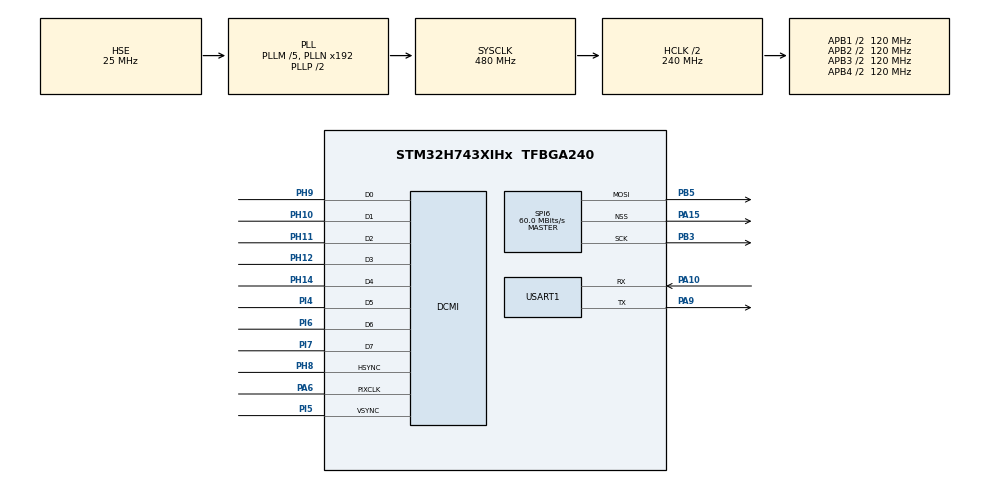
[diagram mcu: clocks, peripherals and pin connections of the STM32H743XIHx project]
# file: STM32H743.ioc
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CORTEX_M7.AccessPermission-Cortex_Memory_Protection_Unit_Region0_Settings=MPU_REGION_FULL_ACCESS
CORTEX_M7.AccessPermission_Spec=MPU_REGION_FULL_ACCESS
CORTEX_M7.BaseAddress-Cortex_Memory_Protection_Unit_Region0_Settings=0xC0000000
CORTEX_M7.BaseAddress_Spec=0xC0000000
CORTEX_M7.CPU_DCache=Enabled
CORTEX_M7.CPU_ICache=Enabled
CORTEX_M7.DisableExec_Spec=MPU_INSTRUCTION_ACCESS_ENABLE
CORTEX_M7.Enable-Cortex_Memory_Protection_Unit_Region0_Settings=MPU_REGION_ENABLE
CORTEX_M7.IsCacheable-Cortex_Memory_Protection_Unit_Region0_Settings=MPU_ACCESS_CACHEABLE
CORTEX_M7.IsCacheable_Spec=MPU_ACCESS_CACHEABLE
CORTEX_M7.IsShareable_Spec=MPU_ACCESS_NOT_SHAREABLE
CORTEX_M7.MPU_Control=MPU_HFNMI_PRIVDEF
CORTEX_M7.Size-Cortex_Memory_Protection_Unit_Region0_Settings=MPU_REGION_SIZE_32MB
CORTEX_M7.Size_Spec=MPU_REGION_SIZE_32MB
CORTEX_M7.SubRegionDisable_Spec=0x0
DMA2D.ColorMode=DMA2D_OUTPUT_RGB565
Mcu.Family=STM32H7
Mcu.Name=STM32H743XIHx
Mcu.Package=TFBGA240
NVIC.PriorityGroup=NVIC_PRIORITYGROUP_4
PA10.Mode=Asynchronous
PA10.Signal=USART1_RX
PA13\ (JTMS/SWDIO).Mode=Serial_Wire
PA13\ (JTMS/SWDIO).Signal=DEBUG_JTMS-SWDIO
PA14\ (JTCK/SWCLK).Mode=Serial_Wire
PA14\ (JTCK/SWCLK).Signal=DEBUG_JTCK-SWCLK
PA15\ (JTDI).Mode=NSS_Signal_Hard_Output
PA15\ (JTDI).Signal=SPI6_NSS
PA6.GPIO_Mode=GPIO_MODE_AF_PP
PA6.GPIO_PuPd=GPIO_NOPULL
PA6.GPIO_Speed=GPIO_SPEED_FREQ_VERY_HIGH
PA6.Mode=Slave_8_bits_External_Synchro
PA6.Signal=DCMI_PIXCLK
PA9.Mode=Asynchronous
PA9.Signal=USART1_TX
PB3\ (JTDO/TRACESWO).Mode=TX_Only_Simplex_Unidirect_Master
PB3\ (JTDO/TRACESWO).Signal=SPI6_SCK
PB5.Mode=TX_Only_Simplex_Unidirect_Master
PB5.Signal=SPI6_MOSI
PC14-OSC32_IN\ (OSC32_IN).Mode=LSE-External-Oscillator
PC14-OSC32_IN\ (OSC32_IN).Signal=RCC_OSC32_IN
PC15-OSC32_OUT\ (OSC32_OUT).Mode=LSE-External-Oscillator
PC15-OSC32_OUT\ (OSC32_OUT).Signal=RCC_OSC32_OUT
PF7.GPIO_Speed=GPIO_SPEED_FREQ_VERY_HIGH
PF7.Signal=QUADSPI_BK1_IO2
PF8.GPIO_Speed=GPIO_SPEED_FREQ_VERY_HIGH
PF8.Signal=QUADSPI_BK1_IO0
PF9.GPIO_Speed=GPIO_SPEED_FREQ_VERY_HIGH
PF9.Signal=QUADSPI_BK1_IO1
PG6.GPIO_Speed=GPIO_SPEED_FREQ_VERY_HIGH
PG6.Signal=QUADSPI_BK1_NCS
PH0-OSC_IN\ (PH0).Mode=HSE-External-Clock-Source
PH0-OSC_IN\ (PH0).Signal=RCC_OSC_IN
PH10.GPIO_Mode=GPIO_MODE_AF_PP
PH10.GPIO_PuPd=GPIO_NOPULL
PH10.GPIO_Speed=GPIO_SPEED_FREQ_VERY_HIGH
PH10.Mode=Slave_8_bits_External_Synchro
PH10.Signal=DCMI_D1
PH11.GPIO_Mode=GPIO_MODE_AF_PP
PH11.GPIO_PuPd=GPIO_NOPULL
PH11.GPIO_Speed=GPIO_SPEED_FREQ_VERY_HIGH
PH11.Mode=Slave_8_bits_External_Synchro
PH11.Signal=DCMI_D2
PH12.GPIO_Mode=GPIO_MODE_AF_PP
PH12.GPIO_PuPd=GPIO_NOPULL
PH12.GPIO_Speed=GPIO_SPEED_FREQ_VERY_HIGH
PH12.Mode=Slave_8_bits_External_Synchro
PH12.Signal=DCMI_D3
PH14.GPIO_Mode=GPIO_MODE_AF_PP
PH14.GPIO_PuPd=GPIO_NOPULL
PH14.GPIO_Speed=GPIO_SPEED_FREQ_VERY_HIGH
PH14.Mode=Slave_8_bits_External_Synchro
PH14.Signal=DCMI_D4
PH15.Signal=LTDC_G4
PH2.Signal=FMC_SDCKE0
PH3.Signal=FMC_SDNE0
PH4.Signal=LTDC_G5
PH5.GPIO_Speed=GPIO_SPEED_FREQ_VERY_HIGH
PH5.Signal=SPI5_NSS
PH8.GPIO_Mode=GPIO_MODE_AF_PP
PH8.GPIO_PuPd=GPIO_NOPULL
PH8.GPIO_Speed=GPIO_SPEED_FREQ_VERY_HIGH
PH8.Mode=Slave_8_bits_External_Synchro
PH8.Signal=DCMI_HSYNC
PH9.GPIO_Mode=GPIO_MODE_AF_PP
PH9.GPIO_PuPd=GPIO_NOPULL
PH9.GPIO_Speed=GPIO_SPEED_FREQ_VERY_HIGH
PH9.Mode=Slave_8_bits_External_Synchro
PH9.Signal=DCMI_D0
PI12.Signal=LTDC_HSYNC
PI14.Signal=LTDC_CLK
PI15.Signal=LTDC_R0
PI4.GPIO_Mode=GPIO_MODE_AF_PP
PI4.GPIO_PuPd=GPIO_NOPULL
PI4.GPIO_Speed=GPIO_SPEED_FREQ_VERY_HIGH
PI4.Mode=Slave_8_bits_External_Synchro
PI4.Signal=DCMI_D5
PI5.GPIO_Mode=GPIO_MODE_AF_PP
PI5.GPIO_PuPd=GPIO_NOPULL
PI5.GPIO_Speed=GPIO_SPEED_FREQ_VERY_HIGH
PI5.Mode=Slave_8_bits_External_Synchro
PI5.Signal=DCMI_VSYNC
PI6.GPIO_Mode=GPIO_MODE_AF_PP
PI6.GPIO_PuPd=GPIO_NOPULL
PI6.GPIO_Speed=GPIO_SPEED_FREQ_VERY_HIGH
PI6.Mode=Slave_8_bits_External_Synchro
PI6.Signal=DCMI_D6
PI7.GPIO_Mode=GPIO_MODE_AF_PP
PI7.GPIO_PuPd=GPIO_NOPULL
PI7.GPIO_Speed=GPIO_SPEED_FREQ_VERY_HIGH
PI7.Mode=Slave_8_bits_External_Synchro
PI7.Signal=DCMI_D7
PJ0.Signal=LTDC_R1
PJ12.Signal=LTDC_B0
PJ13.Signal=LTDC_B1
PJ14.Signal=LTDC_B2
PJ15.Signal=LTDC_B3
PJ6.Signal=LTDC_R7
PJ7.Signal=LTDC_G0
PJ8.Signal=LTDC_G1
PJ9.Signal=LTDC_G2
PK1.Signal=LTDC_G6
PK2.Signal=LTDC_G7
ProjectManager.HeapSize=0x800
ProjectManager.StackSize=0x800
ProjectManager.TargetToolchain=CMake
RCC.ADCFreq_Value=50390625
RCC.APB1Freq_Value=120000000
RCC.APB2Freq_Value=120000000
RCC.APB3Freq_Value=120000000
RCC.APB4Freq_Value=120000000
RCC.CortexFreq_Value=480000000
RCC.D1PPRE=RCC_APB3_DIV2
RCC.D2PPRE1=RCC_APB1_DIV2
RCC.D2PPRE2=RCC_APB2_DIV2
RCC.D3PPRE=RCC_APB4_DIV2
RCC.DIVM1=5
RCC.DIVM3=25
RCC.DIVN1=192
RCC.DIVN3=330
RCC.DIVQ1=4
RCC.DIVR3=10
RCC.HCLKFreq_Value=240000000
RCC.HPRE=RCC_HCLK_DIV2
RCC.HSE_VALUE=25000000
RCC.PLLSourceVirtual=RCC_PLLSOURCE_HSE
RCC.PWR_Regulator_Voltage_Scale=PWR_REGULATOR_VOLTAGE_SCALE0
RCC.ProductRev=revV
RCC.RTCClockSelection=RCC_RTCCLKSOURCE_LSE
RCC.SYSCLKFreq_VALUE=480000000
RCC.SYSCLKSource=RCC_SYSCLKSOURCE_PLLCLK
RCC.USBFreq_Value=240000000
SPI6.CalculateBaudRate=60.0 MBits/s
SPI6.DataSize=SPI_DATASIZE_8BIT
SPI6.Direction=SPI_DIRECTION_2LINES_TXONLY
SPI6.Mode=SPI_MODE_MASTER
SPI6.VirtualNSS=VM_NSSHARD
SPI6.VirtualType=VM_MASTER
USART1.VirtualMode-Asynchronous=VM_ASYNC
VP_CRC_VS_CRC.Mode=CRC_Activate
VP_DMA2D_VS_DMA2D.Mode=DMA2D_Activate
VP_MEMORYMAP_VS_MEMORYMAP.Mode=CurAppReg
board=custom

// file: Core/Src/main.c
/* USER CODE BEGIN Header */
/**
  ******************************************************************************
  * @file           : main.c
  * @brief          : Main program body
  ******************************************************************************
  * @attention
  *
  * Copyright (c) 2025 STMicroelectronics.
  * All rights reserved.
  *
  * This software is licensed under terms that can be found in the LICENSE file
  * in the root directory of this software component.
  * If no LICENSE file comes with this software, it is provided AS-IS.
  *
  ******************************************************************************
  */
/* USER CODE END Header */
#include "main.h"

/* USER CODE BEGIN Includes */
#include "app_x-cube-ai.h"
/* USER CODE END Includes */

CRC_HandleTypeDef hcrc;

DCMI_HandleTypeDef hdcmi;

DMA2D_HandleTypeDef hdma2d;

SPI_HandleTypeDef hspi6;

UART_HandleTypeDef huart1;

SDRAM_HandleTypeDef hsdram1;

/* USER CODE BEGIN PV */
// #define Camera_Buffer SDRAM_BANK_ADDR
AI_ALIGNED(4)
__IO uint32_t Camera_Buffer[Display_BufferSize];

char display_str[20];

/* USER CODE END PV */

void SystemClock_Config(void);
static void MPU_Config(void);
static void MX_GPIO_Init(void);
static void MX_DCMI_Init(void);
static void MX_DMA2D_Init(void);
static void MX_USART1_UART_Init(void);
static void MX_CRC_Init(void);
static void MX_SPI6_Init(void);
static void MX_FMC_Init(void);

int main(void)
{

    /* MPU Configuration--------------------------------------------------------*/
    MPU_Config();

    /* Enable the CPU Cache */

    /* Enable I-Cache---------------------------------------------------------*/
    SCB_EnableICache();

    /* Enable D-Cache---------------------------------------------------------*/
    SCB_EnableDCache();

    /* MCU Configuration--------------------------------------------------------*/

    /* Reset of all peripherals, Initializes the Flash interface and the Systick. */
    HAL_Init();

    /* Configure the system clock */
    SystemClock_Config();

    /* Initialize all configured peripherals */
    MX_GPIO_Init();
    MX_DCMI_Init();
    MX_DMA2D_Init();
    MX_USART1_UART_Init();
    MX_CRC_Init();
    MX_SPI6_Init();
    MX_FMC_Init();
    /* USER CODE BEGIN 2 */
    USART1_Init();
    LED_Init();
    SPI_LCD_Init();

    DCMI_OV5640_Init();                                                          // DCMI以及OV5640初始�?
    OV5640_DMA_Transmit_Continuous((uint32_t)Camera_Buffer, Display_BufferSize); // 启动DMA连续传输

    MX_CRC_Init();
    MX_X_CUBE_AI_Init();

    printf("[INFO]: ----------- Card Detection Running ----------- \r\n");

    uint32_t start = 0;
    uint32_t end = 0;
    uint32_t cost = 0;

    /* USER CODE END 2 */

    /* Infinite loop */
    /* USER CODE BEGIN WHILE */
    while (1)
    {
        if (OV5640_FrameState == 1) // 采集到了一帧图像
        {
            OV5640_DCMI_Suspend();

            start = HAL_GetTick();
            MX_X_CUBE_AI_Process();
            end = HAL_GetTick();

            cost = end - start;

            LCD_CopyBuffer(0, 0, 192, 192, (uint16_t *)Camera_Buffer);
            OV5640_DCMI_Resume();

            sprintf(display_str, "%d ms ", cost);
            LCD_DisplayString(84, 240, display_str);
            LED1_Toggle;

            OV5640_FrameState = 0; // 清零标志位
        }
        /* USER CODE END WHILE */

    }
}

void SystemClock_Config(void)
{
    RCC_OscInitTypeDef RCC_OscInitStruct = {0};
    RCC_ClkInitTypeDef RCC_ClkInitStruct = {0};

    /** Supply configuration update enable
  */
    HAL_PWREx_ConfigSupply(PWR_LDO_SUPPLY);

    /** Configure the main internal regulator output voltage
  */
    __HAL_PWR_VOLTAGESCALING_CONFIG(PWR_REGULATOR_VOLTAGE_SCALE1);

    while (!__HAL_PWR_GET_FLAG(PWR_FLAG_VOSRDY))
    {
    }

    __HAL_RCC_SYSCFG_CLK_ENABLE();
    __HAL_PWR_VOLTAGESCALING_CONFIG(PWR_REGULATOR_VOLTAGE_SCALE0);

    while (!__HAL_PWR_GET_FLAG(PWR_FLAG_VOSRDY))
    {
    }

    /** Initializes the RCC Oscillators according to the specified parameters
  * in the RCC_OscInitTypeDef structure.
  */
    RCC_OscInitStruct.OscillatorType = RCC_OSCILLATORTYPE_HSE;
    RCC_OscInitStruct.HSEState = RCC_HSE_BYPASS;
    RCC_OscInitStruct.PLL.PLLState = RCC_PLL_ON;
    RCC_OscInitStruct.PLL.PLLSource = RCC_PLLSOURCE_HSE;
    RCC_OscInitStruct.PLL.PLLM = 5;
    RCC_OscInitStruct.PLL.PLLN = 192;
    RCC_OscInitStruct.PLL.PLLP = 2;
    RCC_OscInitStruct.PLL.PLLQ = 4;
    RCC_OscInitStruct.PLL.PLLR = 2;
    RCC_OscInitStruct.PLL.PLLRGE = RCC_PLL1VCIRANGE_2;
    RCC_OscInitStruct.PLL.PLLVCOSEL = RCC_PLL1VCOWIDE;
    RCC_OscInitStruct.PLL.PLLFRACN = 0;
    if (HAL_RCC_OscConfig(&RCC_OscInitStruct) != HAL_OK)
    {
        Error_Handler();
    }

    /** Initializes the CPU, AHB and APB buses clocks
  */
    RCC_ClkInitStruct.ClockType = RCC_CLOCKTYPE_HCLK | RCC_CLOCKTYPE_SYSCLK | RCC_CLOCKTYPE_PCLK1 | RCC_CLOCKTYPE_PCLK2 | RCC_CLOCKTYPE_D3PCLK1 | RCC_CLOCKTYPE_D1PCLK1;
    RCC_ClkInitStruct.SYSCLKSource = RCC_SYSCLKSOURCE_PLLCLK;
    RCC_ClkInitStruct.SYSCLKDivider = RCC_SYSCLK_DIV1;
    RCC_ClkInitStruct.AHBCLKDivider = RCC_HCLK_DIV2;
    RCC_ClkInitStruct.APB3CLKDivider = RCC_APB3_DIV2;
    RCC_ClkInitStruct.APB1CLKDivider = RCC_APB1_DIV2;
    RCC_ClkInitStruct.APB2CLKDivider = RCC_APB2_DIV2;
    RCC_ClkInitStruct.APB4CLKDivider = RCC_APB4_DIV2;

    if (HAL_RCC_ClockConfig(&RCC_ClkInitStruct, FLASH_LATENCY_4) != HAL_OK)
    {
        Error_Handler();
    }
}

static void MX_CRC_Init(void)
{

    hcrc.Instance = CRC;
    hcrc.Init.DefaultPolynomialUse = DEFAULT_POLYNOMIAL_ENABLE;
    hcrc.Init.DefaultInitValueUse = DEFAULT_INIT_VALUE_ENABLE;
    hcrc.Init.InputDataInversionMode = CRC_INPUTDATA_INVERSION_NONE;
    hcrc.Init.OutputDataInversionMode = CRC_OUTPUTDATA_INVERSION_DISABLE;
    hcrc.InputDataFormat = CRC_INPUTDATA_FORMAT_BYTES;
    if (HAL_CRC_Init(&hcrc) != HAL_OK)
    {
        Error_Handler();
    }
}

static void MX_DCMI_Init(void)
{

    hdcmi.Instance = DCMI;
    hdcmi.Init.SynchroMode = DCMI_SYNCHRO_HARDWARE;
    hdcmi.Init.PCKPolarity = DCMI_PCKPOLARITY_FALLING;
    hdcmi.Init.VSPolarity = DCMI_VSPOLARITY_LOW;
    hdcmi.Init.HSPolarity = DCMI_HSPOLARITY_LOW;
    hdcmi.Init.CaptureRate = DCMI_CR_ALL_FRAME;
    hdcmi.Init.ExtendedDataMode = DCMI_EXTEND_DATA_8B;
    hdcmi.Init.JPEGMode = DCMI_JPEG_DISABLE;
    hdcmi.Init.ByteSelectMode = DCMI_BSM_ALL;
    hdcmi.Init.ByteSelectStart = DCMI_OEBS_ODD;
    hdcmi.Init.LineSelectMode = DCMI_LSM_ALL;
    hdcmi.Init.LineSelectStart = DCMI_OELS_ODD;
    if (HAL_DCMI_Init(&hdcmi) != HAL_OK)
    {
        Error_Handler();
    }
}

static void MX_DMA2D_Init(void)
{

    hdma2d.Instance = DMA2D;
    hdma2d.Init.Mode = DMA2D_M2M;
    hdma2d.Init.ColorMode = DMA2D_OUTPUT_RGB565;
    hdma2d.Init.OutputOffset = 0;
    hdma2d.LayerCfg[1].InputOffset = 0;
    hdma2d.LayerCfg[1].InputColorMode = DMA2D_INPUT_RGB565;
    hdma2d.LayerCfg[1].AlphaMode = DMA2D_NO_MODIF_ALPHA;
    hdma2d.LayerCfg[1].InputAlpha = 0;
    hdma2d.LayerCfg[1].AlphaInverted = DMA2D_REGULAR_ALPHA;
    hdma2d.LayerCfg[1].RedBlueSwap = DMA2D_RB_REGULAR;
    hdma2d.LayerCfg[1].ChromaSubSampling = DMA2D_NO_CSS;
    if (HAL_DMA2D_Init(&hdma2d) != HAL_OK)
    {
        Error_Handler();
    }
    if (HAL_DMA2D_ConfigLayer(&hdma2d, 1) != HAL_OK)
    {
        Error_Handler();
    }
}

static void MX_SPI6_Init(void)
{

    /* SPI6 parameter configuration*/
    hspi6.Instance = SPI6;
    hspi6.Init.Mode = SPI_MODE_MASTER;
    hspi6.Init.Direction = SPI_DIRECTION_2LINES_TXONLY;
    hspi6.Init.DataSize = SPI_DATASIZE_8BIT;
    hspi6.Init.CLKPolarity = SPI_POLARITY_LOW;
    hspi6.Init.CLKPhase = SPI_PHASE_1EDGE;
    hspi6.Init.NSS = SPI_NSS_HARD_OUTPUT;
    hspi6.Init.BaudRatePrescaler = SPI_BAUDRATEPRESCALER_2;
    hspi6.Init.FirstBit = SPI_FIRSTBIT_MSB;
    hspi6.Init.TIMode = SPI_TIMODE_DISABLE;
    hspi6.Init.CRCCalculation = SPI_CRCCALCULATION_DISABLE;
    hspi6.Init.CRCPolynomial = 0x0;
    hspi6.Init.NSSPMode = SPI_NSS_PULSE_ENABLE;
    hspi6.Init.NSSPolarity = SPI_NSS_POLARITY_LOW;
    hspi6.Init.FifoThreshold = SPI_FIFO_THRESHOLD_01DATA;
    hspi6.Init.TxCRCInitializationPattern = SPI_CRC_INITIALIZATION_ALL_ZERO_PATTERN;
    hspi6.Init.RxCRCInitializationPattern = SPI_CRC_INITIALIZATION_ALL_ZERO_PATTERN;
    hspi6.Init.MasterSSIdleness = SPI_MASTER_SS_IDLENESS_00CYCLE;
    hspi6.Init.MasterInterDataIdleness = SPI_MASTER_INTERDATA_IDLENESS_00CYCLE;
    hspi6.Init.MasterReceiverAutoSusp = SPI_MASTER_RX_AUTOSUSP_DISABLE;
    hspi6.Init.MasterKeepIOState = SPI_MASTER_KEEP_IO_STATE_DISABLE;
    hspi6.Init.IOSwap = SPI_IO_SWAP_DISABLE;
    if (HAL_SPI_Init(&hspi6) != HAL_OK)
    {
        Error_Handler();
    }
}

static void MX_USART1_UART_Init(void)
{

    huart1.Instance = USART1;
    huart1.Init.BaudRate = 115200;
    huart1.Init.WordLength = UART_WORDLENGTH_8B;
    huart1.Init.StopBits = UART_STOPBITS_1;
    huart1.Init.Parity = UART_PARITY_NONE;
    huart1.Init.Mode = UART_MODE_TX_RX;
    huart1.Init.HwFlowCtl = UART_HWCONTROL_NONE;
    huart1.Init.OverSampling = UART_OVERSAMPLING_16;
    huart1.Init.OneBitSampling = UART_ONE_BIT_SAMPLE_DISABLE;
    huart1.Init.ClockPrescaler = UART_PRESCALER_DIV1;
    huart1.AdvancedInit.AdvFeatureInit = UART_ADVFEATURE_NO_INIT;
    if (HAL_UART_Init(&huart1) != HAL_OK)
    {
        Error_Handler();
    }
    if (HAL_UARTEx_SetTxFifoThreshold(&huart1, UART_TXFIFO_THRESHOLD_1_8) != HAL_OK)
    {
        Error_Handler();
    }
    if (HAL_UARTEx_SetRxFifoThreshold(&huart1, UART_RXFIFO_THRESHOLD_1_8) != HAL_OK)
    {
        Error_Handler();
    }
    if (HAL_UARTEx_DisableFifoMode(&huart1) != HAL_OK)
    {
        Error_Handler();
    }
}

/* FMC initialization function */
static void MX_FMC_Init(void)
{

    FMC_SDRAM_TimingTypeDef SdramTiming = {0};

    /** Perform the SDRAM1 memory initialization sequence
  */
    hsdram1.Instance = FMC_SDRAM_DEVICE;
    /* hsdram1.Init */
    hsdram1.Init.SDBank = FMC_SDRAM_BANK1;
    hsdram1.Init.ColumnBitsNumber = FMC_SDRAM_COLUMN_BITS_NUM_8;
    hsdram1.Init.RowBitsNumber = FMC_SDRAM_ROW_BITS_NUM_12;
    hsdram1.Init.MemoryDataWidth = FMC_SDRAM_MEM_BUS_WIDTH_16;
    hsdram1.Init.InternalBankNumber = FMC_SDRAM_INTERN_BANKS_NUM_4;
    hsdram1.Init.CASLatency = FMC_SDRAM_CAS_LATENCY_3;
    hsdram1.Init.WriteProtection = FMC_SDRAM_WRITE_PROTECTION_DISABLE;
    hsdram1.Init.SDClockPeriod = FMC_SDRAM_CLOCK_PERIOD_2;
    hsdram1.Init.ReadBurst = FMC_SDRAM_RBURST_ENABLE;
    hsdram1.Init.ReadPipeDelay = FMC_SDRAM_RPIPE_DELAY_0;
    /* SdramTiming */
    SdramTiming.LoadToActiveDelay = 2;
    SdramTiming.ExitSelfRefreshDelay = 7;
    SdramTiming.SelfRefreshTime = 4;
    SdramTiming.RowCycleDelay = 7;
    SdramTiming.WriteRecoveryTime = 3;
    SdramTiming.RPDelay = 2;
    SdramTiming.RCDDelay = 2;

    if (HAL_SDRAM_Init(&hsdram1, &SdramTiming) != HAL_OK)
    {
        Error_Handler();
    }

}

static void MX_GPIO_Init(void)
{
    GPIO_InitTypeDef GPIO_InitStruct = {0};

    /* GPIO Ports Clock Enable */
    __HAL_RCC_GPIOI_CLK_ENABLE();
    __HAL_RCC_GPIOB_CLK_ENABLE();
    __HAL_RCC_GPIOA_CLK_ENABLE();
    __HAL_RCC_GPIOE_CLK_ENABLE();
    __HAL_RCC_GPIOJ_CLK_ENABLE();
    __HAL_RCC_GPIOH_CLK_ENABLE();
    __HAL_RCC_GPIOC_CLK_ENABLE();
    __HAL_RCC_GPIOG_CLK_ENABLE();
    __HAL_RCC_GPIOD_CLK_ENABLE();
    __HAL_RCC_GPIOF_CLK_ENABLE();
    __HAL_RCC_GPIOK_CLK_ENABLE();

    /*Configure GPIO pins : PJ15 PJ14 PJ12 PJ13
                           PJ9 PJ0 PJ8 PJ7
                           PJ6 */
    GPIO_InitStruct.Pin = GPIO_PIN_15 | GPIO_PIN_14 | GPIO_PIN_12 | GPIO_PIN_13 | GPIO_PIN_9 | GPIO_PIN_0 | GPIO_PIN_8 | GPIO_PIN_7 | GPIO_PIN_6;
    GPIO_InitStruct.Mode = GPIO_MODE_AF_PP;
    GPIO_InitStruct.Pull = GPIO_NOPULL;
    GPIO_InitStruct.Speed = GPIO_SPEED_FREQ_LOW;
    GPIO_InitStruct.Alternate = GPIO_AF14_LTDC;
    HAL_GPIO_Init(GPIOJ, &GPIO_InitStruct);

    /*Configure GPIO pin : PH15 */
    GPIO_InitStruct.Pin = GPIO_PIN_15;
    GPIO_InitStruct.Mode = GPIO_MODE_AF_PP;
    GPIO_InitStruct.Pull = GPIO_NOPULL;
    GPIO_InitStruct.Speed = GPIO_SPEED_FREQ_LOW;
    GPIO_InitStruct.Alternate = GPIO_AF14_LTDC;
    HAL_GPIO_Init(GPIOH, &GPIO_InitStruct);

    /*Configure GPIO pin : PG6 */
    GPIO_InitStruct.Pin = GPIO_PIN_6;
    GPIO_InitStruct.Mode = GPIO_MODE_AF_PP;
    GPIO_InitStruct.Pull = GPIO_NOPULL;
    GPIO_InitStruct.Speed = GPIO_SPEED_FREQ_VERY_HIGH;
    GPIO_InitStruct.Alternate = GPIO_AF10_QUADSPI;
    HAL_GPIO_Init(GPIOG, &GPIO_InitStruct);

    /*Configure GPIO pins : PI12 PI14 PI15 */
    GPIO_InitStruct.Pin = GPIO_PIN_12 | GPIO_PIN_14 | GPIO_PIN_15;
    GPIO_InitStruct.Mode = GPIO_MODE_AF_PP;
    GPIO_InitStruct.Pull = GPIO_NOPULL;
    GPIO_InitStruct.Speed = GPIO_SPEED_FREQ_LOW;
    GPIO_InitStruct.Alternate = GPIO_AF14_LTDC;
    HAL_GPIO_Init(GPIOI, &GPIO_InitStruct);

    /*Configure GPIO pins : PK2 PK1 */
    GPIO_InitStruct.Pin = GPIO_PIN_2 | GPIO_PIN_1;
    GPIO_InitStruct.Mode = GPIO_MODE_AF_PP;
    GPIO_InitStruct.Pull = GPIO_NOPULL;
    GPIO_InitStruct.Speed = GPIO_SPEED_FREQ_LOW;
    GPIO_InitStruct.Alternate = GPIO_AF14_LTDC;
    HAL_GPIO_Init(GPIOK, &GPIO_InitStruct);

    /*Configure GPIO pin : PF7 */
    GPIO_InitStruct.Pin = GPIO_PIN_7;
    GPIO_InitStruct.Mode = GPIO_MODE_AF_PP;
    GPIO_InitStruct.Pull = GPIO_NOPULL;
    GPIO_InitStruct.Speed = GPIO_SPEED_FREQ_VERY_HIGH;
    GPIO_InitStruct.Alternate = GPIO_AF9_QUADSPI;
    HAL_GPIO_Init(GPIOF, &GPIO_InitStruct);

    /*Configure GPIO pins : PF8 PF9 */
    GPIO_InitStruct.Pin = GPIO_PIN_8 | GPIO_PIN_9;
    GPIO_InitStruct.Mode = GPIO_MODE_AF_PP;
    GPIO_InitStruct.Pull = GPIO_NOPULL;
    GPIO_InitStruct.Speed = GPIO_SPEED_FREQ_VERY_HIGH;
    GPIO_InitStruct.Alternate = GPIO_AF10_QUADSPI;
    HAL_GPIO_Init(GPIOF, &GPIO_InitStruct);

    /*Configure GPIO pin : PH4 */
    GPIO_InitStruct.Pin = GPIO_PIN_4;
    GPIO_InitStruct.Mode = GPIO_MODE_AF_PP;
    GPIO_InitStruct.Pull = GPIO_NOPULL;
    GPIO_InitStruct.Speed = GPIO_SPEED_FREQ_LOW;
    GPIO_InitStruct.Alternate = GPIO_AF9_LTDC;
    HAL_GPIO_Init(GPIOH, &GPIO_InitStruct);

    /*Configure GPIO pin : PH5 */
    GPIO_InitStruct.Pin = GPIO_PIN_5;
    GPIO_InitStruct.Mode = GPIO_MODE_AF_PP;
    GPIO_InitStruct.Pull = GPIO_NOPULL;
    GPIO_InitStruct.Speed = GPIO_SPEED_FREQ_VERY_HIGH;
    GPIO_InitStruct.Alternate = GPIO_AF5_SPI5;
    HAL_GPIO_Init(GPIOH, &GPIO_InitStruct);

}

/* USER CODE BEGIN 4 */
static uint32_t GetBytesPerPixel(uint32_t dma2d_color)
{
    switch (dma2d_color)
    {
    case DMA2D_OUTPUT_ARGB8888:
        return 4;
    case DMA2D_OUTPUT_RGB888:
        return 3;
    case DMA2D_OUTPUT_RGB565:
    case DMA2D_OUTPUT_ARGB1555:
    case DMA2D_OUTPUT_ARGB4444:
        return 2;
    default:
        return 0;
    }
}

void Dma2d_Memcpy_PFC(uint32_t *pSrc, uint32_t *pDst, uint16_t x, uint16_t y, uint16_t xsize, uint16_t ysize,
                      uint32_t rowStride, uint32_t input_color_format, uint32_t output_color_format)
{

    uint32_t bytepp = GetBytesPerPixel(output_color_format);
    uint32_t destination = (uint32_t)pDst + (y * rowStride + x) * bytepp;
    uint32_t source = (uint32_t)pSrc;

    HAL_DMA2D_DeInit(&hdma2d);
    hdma2d.Instance = DMA2D;

    hdma2d.Init.Mode = DMA2D_M2M_PFC;                // 存储器到存储器模式，并启用PFC转换
    hdma2d.Init.ColorMode = output_color_format;     // 输出颜色格式，要和LTDC的设置一�?
    hdma2d.Init.OutputOffset = rowStride - xsize;    // 行偏�?
    hdma2d.Init.AlphaInverted = DMA2D_REGULAR_ALPHA; // 正常透明通道
    hdma2d.Init.RedBlueSwap = DMA2D_RB_REGULAR;      // 不交�? R和B 颜色通道
    hdma2d.XferCpltCallback = NULL;                  // DMA2D回调设置，此处不使用

    hdma2d.LayerCfg[1].AlphaMode = DMA2D_REPLACE_ALPHA;     // 正常透明通道
    hdma2d.LayerCfg[1].InputAlpha = 0xFF;                   // 配置恒定透明度，取�?�范�?0~255�?255表示不�?�明�?0表示完全透明
    hdma2d.LayerCfg[1].InputColorMode = input_color_format; // 输入格式
    hdma2d.LayerCfg[1].InputOffset = 0;                     // 输入行偏�?
    hdma2d.LayerCfg[1].AlphaInverted = DMA2D_REGULAR_ALPHA; // 正常透明通道
    hdma2d.LayerCfg[1].RedBlueSwap = DMA2D_RB_REGULAR;      // 不交�? R和B 颜色通道

    /* DMA2D Initialization */
    if (HAL_DMA2D_Init(&hdma2d) == HAL_OK)
    {
        if (HAL_DMA2D_ConfigLayer(&hdma2d, 1) == HAL_OK)
        {
            if (HAL_DMA2D_Start(&hdma2d, source, destination, xsize, ysize) == HAL_OK)
            {
                while (DMA2D->CR & DMA2D_CR_START)
                {
                };
            }
        }
    }
}
/* USER CODE END 4 */

/* MPU Configuration */

void MPU_Config(void)
{
    MPU_Region_InitTypeDef MPU_InitStruct = {0};

    /* Disables the MPU */
    HAL_MPU_Disable();

    /** Initializes and configures the Region and the memory to be protected
  */
    // MPU_InitStruct.Enable = MPU_REGION_ENABLE;
    // MPU_InitStruct.Number = MPU_REGION_NUMBER0;
    // MPU_InitStruct.BaseAddress = 0xC0000000;
    // MPU_InitStruct.Size = MPU_REGION_SIZE_32MB;
    // MPU_InitStruct.SubRegionDisable = 0x0;
    // MPU_InitStruct.TypeExtField = MPU_TEX_LEVEL0;
    // MPU_InitStruct.AccessPermission = MPU_REGION_FULL_ACCESS;
    // MPU_InitStruct.DisableExec = MPU_INSTRUCTION_ACCESS_ENABLE;
    // MPU_InitStruct.IsShareable = MPU_ACCESS_NOT_SHAREABLE;
    // MPU_InitStruct.IsCacheable = MPU_ACCESS_CACHEABLE;
    // MPU_InitStruct.IsBufferable = MPU_ACCESS_NOT_BUFFERABLE;

    MPU_InitStruct.Enable = MPU_REGION_ENABLE;
    MPU_InitStruct.BaseAddress = 0x24000000;
    MPU_InitStruct.Size = MPU_REGION_SIZE_512KB;
    MPU_InitStruct.AccessPermission = MPU_REGION_FULL_ACCESS;
    MPU_InitStruct.IsBufferable = MPU_ACCESS_BUFFERABLE;
    MPU_InitStruct.IsCacheable = MPU_ACCESS_CACHEABLE;
    MPU_InitStruct.IsShareable = MPU_ACCESS_NOT_SHAREABLE;
    MPU_InitStruct.Number = MPU_REGION_NUMBER0;
    MPU_InitStruct.TypeExtField = MPU_TEX_LEVEL1;
    MPU_InitStruct.SubRegionDisable = 0x00;
    MPU_InitStruct.DisableExec = MPU_INSTRUCTION_ACCESS_ENABLE;

    HAL_MPU_ConfigRegion(&MPU_InitStruct);
    /* Enables the MPU */
    HAL_MPU_Enable(MPU_HFNMI_PRIVDEF);
}

void Error_Handler(void)
{
    __disable_irq();
    while (1)
    {
    }
}
